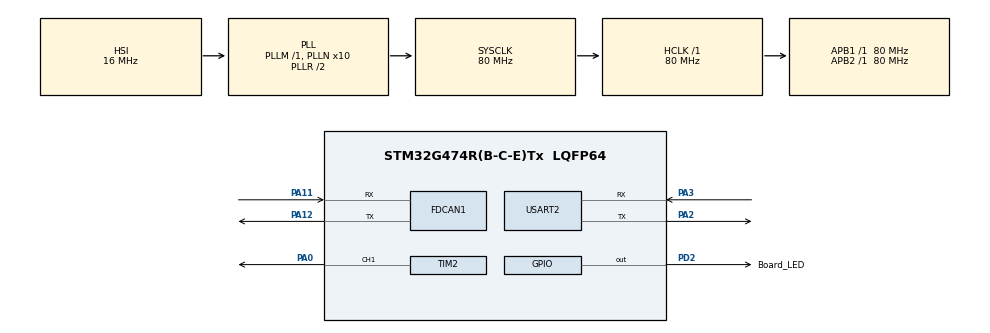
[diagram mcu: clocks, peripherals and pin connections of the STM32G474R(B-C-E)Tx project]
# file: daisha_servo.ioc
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FDCAN1.CalculateBaudRateNominal=1000000
FDCAN1.CalculateTimeBitNominal=1000
FDCAN1.CalculateTimeQuantumNominal=50.0
FDCAN1.DataPrescaler=2
FDCAN1.DataTimeSeg1=15
FDCAN1.DataTimeSeg2=4
FDCAN1.FrameFormat=FDCAN_FRAME_FD_BRS
FDCAN1.NominalPrescaler=4
FDCAN1.NominalTimeSeg1=15
FDCAN1.NominalTimeSeg2=4
FDCAN1.StdFiltersNbr=1
Mcu.Family=STM32G4
Mcu.Name=STM32G474R(B-C-E)Tx
Mcu.Package=LQFP64
NVIC.FDCAN1_IT0_IRQn=true\:0\:0\:false\:false\:true\:true\:true\:true
NVIC.FDCAN1_IT1_IRQn=true\:0\:0\:false\:false\:true\:true\:true\:true
NVIC.PriorityGroup=NVIC_PRIORITYGROUP_4
NVIC.USART2_IRQn=true\:0\:0\:false\:false\:true\:true\:true\:true
PA0.Signal=S_TIM2_CH1
PA11.Mode=FDCAN_Activate
PA11.Signal=FDCAN1_RX
PA12.Mode=FDCAN_Activate
PA12.Signal=FDCAN1_TX
PA2.Mode=Asynchronous
PA2.Signal=USART2_TX
PA3.Mode=Asynchronous
PA3.Signal=USART2_RX
PD2.GPIO_Label=Board_LED
PD2.Signal=GPIO_Output
ProjectManager.HeapSize=0x200
ProjectManager.StackSize=0x400
ProjectManager.TargetToolchain=STM32CubeIDE
RCC.ADC12Freq_Value=80000000
RCC.ADC345Freq_Value=80000000
RCC.AHBFreq_Value=80000000
RCC.APB1Freq_Value=80000000
RCC.APB1TimFreq_Value=80000000
RCC.APB2Freq_Value=80000000
RCC.APB2TimFreq_Value=80000000
RCC.CortexFreq_Value=80000000
RCC.EXTERNAL_CLOCK_VALUE=12288000
RCC.HCLKFreq_Value=80000000
RCC.HSE_VALUE=8000000
RCC.HSI48_VALUE=48000000
RCC.HSI_VALUE=16000000
RCC.LSE_VALUE=32768
RCC.PLLN=10
RCC.SYSCLKFreq_VALUE=80000000
RCC.SYSCLKSource=RCC_SYSCLKSOURCE_PLLCLK
RCC.USBFreq_Value=80000000
RCC.VCOOutputFreq_Value=160000000
SH.S_TIM2_CH1.0=TIM2_CH1,PWM Generation1 CH1
TIM2.Channel-PWM\ Generation1\ CH1=TIM_CHANNEL_1
TIM2.PeriodNoDither=999
TIM2.Prescaler=1599
USART2.VirtualMode-Asynchronous=VM_ASYNC
VP_SYS_VS_DBSignals.Mode=DisableDeadBatterySignals
board=custom

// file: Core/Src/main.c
/* USER CODE BEGIN Header */
/**
  ******************************************************************************
  * @file           : main.c
  * @brief          : Main program body
  ******************************************************************************
  * @attention
  *
  * Copyright (c) 2024 STMicroelectronics.
  * All rights reserved.
  *
  * This software is licensed under terms that can be found in the LICENSE file
  * in the root directory of this software component.
  * If no LICENSE file comes with this software, it is provided AS-IS.
  *
  ******************************************************************************
  */
/* USER CODE END Header */
#include "main.h"

/* USER CODE BEGIN Includes */
#include <stdio.h>
/* USER CODE END Includes */

FDCAN_HandleTypeDef hfdcan1;

TIM_HandleTypeDef htim2;

UART_HandleTypeDef huart2;

/* USER CODE BEGIN PV */
FDCAN_TxHeaderTypeDef TxHeader;
FDCAN_RxHeaderTypeDef RxHeader;
FDCAN_FilterTypeDef sFilterConfig;

uint8_t TxData[8] = {};
uint8_t RxData[8] = {};

int16_t dutty_re = 0;
int16_t kai = 0;
/* USER CODE END PV */

void SystemClock_Config(void);
static void MX_GPIO_Init(void);
static void MX_FDCAN1_Init(void);
static void MX_USART2_UART_Init(void);
static void MX_TIM2_Init(void);

/* USER CODE BEGIN 0 */
void HAL_FDCAN_RxFifo1Callback(FDCAN_HandleTypeDef *hfdcan, uint32_t RxFifo1ITs){
	if (RESET != (RxFifo1ITs & FDCAN_IT_RX_FIFO1_NEW_MESSAGE)) {

	        /* Retrieve Rx messages from RX FIFO0 */

		if (HAL_OK != HAL_FDCAN_GetRxMessage(&hfdcan1, FDCAN_RX_FIFO1, &RxHeader, RxData)) {
			printf("fdcan_getrxmessage is error\r\n");
			Error_Handler();
		}

		if (0x210 == RxHeader.Identifier) {
			kai = RxData[0];
		}
	}
}

void FDCAN_RxTxSettings(void){
	FDCAN_FilterTypeDef FDCAN_Filter_settings;
	FDCAN_Filter_settings.IdType = FDCAN_STANDARD_ID;
	FDCAN_Filter_settings.FilterIndex = 0;
	FDCAN_Filter_settings.FilterType = FDCAN_FILTER_RANGE;
	FDCAN_Filter_settings.FilterConfig = FDCAN_FILTER_TO_RXFIFO1;
	FDCAN_Filter_settings.FilterID1 = 0;
	FDCAN_Filter_settings.FilterID2 = 0x7FF;

	TxHeader.Identifier = 0x000;
	TxHeader.IdType = FDCAN_STANDARD_ID;
	TxHeader.TxFrameType = FDCAN_DATA_FRAME;
	TxHeader.DataLength = FDCAN_DLC_BYTES_8;
	TxHeader.ErrorStateIndicator = FDCAN_ESI_ACTIVE;
	TxHeader.BitRateSwitch = FDCAN_BRS_ON;
	TxHeader.FDFormat = FDCAN_FD_CAN;
	TxHeader.TxEventFifoControl = FDCAN_NO_TX_EVENTS;
	TxHeader.MessageMarker = 0;

	if (HAL_OK != HAL_FDCAN_ConfigFilter(&hfdcan1, &FDCAN_Filter_settings)){
		printf("fdcan_configfilter is error\r\n");
		Error_Handler();
	}

	if (HAL_OK != HAL_FDCAN_ConfigGlobalFilter(&hfdcan1, FDCAN_REJECT, FDCAN_FILTER_REJECT, FDCAN_FILTER_REMOTE, FDCAN_FILTER_REMOTE)){
		printf("fdcan_configglobalfilter is error\r\n");
		Error_Handler();
	}

	if (HAL_OK != HAL_FDCAN_Start(&hfdcan1)) {
		printf("fdcan_start is error\r\n");
		Error_Handler();
	}

	if (HAL_OK != HAL_FDCAN_ActivateNotification(&hfdcan1, FDCAN_IT_RX_FIFO1_NEW_MESSAGE, 0)){
		printf("fdcan_activatenotification is error\r\n");
		Error_Handler();
	}
}

int _write(int file, char *ptr, int len)
{
    HAL_UART_Transmit(&huart2,(uint8_t *)ptr,len,10);
    return len;
}
/* USER CODE END 0 */

int main(void)
{

  /* USER CODE BEGIN 1 */
	setbuf(stdout, NULL);
  /* USER CODE END 1 */

  /* MCU Configuration--------------------------------------------------------*/

  /* Reset of all peripherals, Initializes the Flash interface and the Systick. */
  HAL_Init();

  /* Configure the system clock */
  SystemClock_Config();

  /* Initialize all configured peripherals */
  MX_GPIO_Init();
  MX_FDCAN1_Init();
  MX_USART2_UART_Init();
  MX_TIM2_Init();
  /* USER CODE BEGIN 2 */
  printf("start\r\n");
  printf("can start\r\n");
  FDCAN_RxTxSettings();
  HAL_TIM_PWM_Start_IT(&htim2,TIM_CHANNEL_1);
  /* USER CODE END 2 */

  /* Infinite loop */
  /* USER CODE BEGIN WHILE */
  while (1)
  {
	  if (1 == kai){
		  dutty_re = 95;
	  }
	  else if (0 == kai) {
		  dutty_re = 0;
	  }
	  __HAL_TIM_SET_COMPARE(&htim2,TIM_CHANNEL_1,dutty_re);
	  HAL_Delay(10);
    /* USER CODE END WHILE */

  }
}

void SystemClock_Config(void)
{
  RCC_OscInitTypeDef RCC_OscInitStruct = {0};
  RCC_ClkInitTypeDef RCC_ClkInitStruct = {0};

  /** Configure the main internal regulator output voltage
  */
  HAL_PWREx_ControlVoltageScaling(PWR_REGULATOR_VOLTAGE_SCALE1);

  /** Initializes the RCC Oscillators according to the specified parameters
  * in the RCC_OscInitTypeDef structure.
  */
  RCC_OscInitStruct.OscillatorType = RCC_OSCILLATORTYPE_HSI;
  RCC_OscInitStruct.HSIState = RCC_HSI_ON;
  RCC_OscInitStruct.HSICalibrationValue = RCC_HSICALIBRATION_DEFAULT;
  RCC_OscInitStruct.PLL.PLLState = RCC_PLL_ON;
  RCC_OscInitStruct.PLL.PLLSource = RCC_PLLSOURCE_HSI;
  RCC_OscInitStruct.PLL.PLLM = RCC_PLLM_DIV1;
  RCC_OscInitStruct.PLL.PLLN = 10;
  RCC_OscInitStruct.PLL.PLLP = RCC_PLLP_DIV2;
  RCC_OscInitStruct.PLL.PLLQ = RCC_PLLQ_DIV2;
  RCC_OscInitStruct.PLL.PLLR = RCC_PLLR_DIV2;
  if (HAL_RCC_OscConfig(&RCC_OscInitStruct) != HAL_OK)
  {
    Error_Handler();
  }

  /** Initializes the CPU, AHB and APB buses clocks
  */
  RCC_ClkInitStruct.ClockType = RCC_CLOCKTYPE_HCLK|RCC_CLOCKTYPE_SYSCLK
                              |RCC_CLOCKTYPE_PCLK1|RCC_CLOCKTYPE_PCLK2;
  RCC_ClkInitStruct.SYSCLKSource = RCC_SYSCLKSOURCE_PLLCLK;
  RCC_ClkInitStruct.AHBCLKDivider = RCC_SYSCLK_DIV1;
  RCC_ClkInitStruct.APB1CLKDivider = RCC_HCLK_DIV1;
  RCC_ClkInitStruct.APB2CLKDivider = RCC_HCLK_DIV1;

  if (HAL_RCC_ClockConfig(&RCC_ClkInitStruct, FLASH_LATENCY_2) != HAL_OK)
  {
    Error_Handler();
  }
}

static void MX_FDCAN1_Init(void)
{

  hfdcan1.Instance = FDCAN1;
  hfdcan1.Init.ClockDivider = FDCAN_CLOCK_DIV1;
  hfdcan1.Init.FrameFormat = FDCAN_FRAME_FD_BRS;
  hfdcan1.Init.Mode = FDCAN_MODE_NORMAL;
  hfdcan1.Init.AutoRetransmission = DISABLE;
  hfdcan1.Init.TransmitPause = DISABLE;
  hfdcan1.Init.ProtocolException = DISABLE;
  hfdcan1.Init.NominalPrescaler = 4;
  hfdcan1.Init.NominalSyncJumpWidth = 1;
  hfdcan1.Init.NominalTimeSeg1 = 15;
  hfdcan1.Init.NominalTimeSeg2 = 4;
  hfdcan1.Init.DataPrescaler = 2;
  hfdcan1.Init.DataSyncJumpWidth = 1;
  hfdcan1.Init.DataTimeSeg1 = 15;
  hfdcan1.Init.DataTimeSeg2 = 4;
  hfdcan1.Init.StdFiltersNbr = 1;
  hfdcan1.Init.ExtFiltersNbr = 0;
  hfdcan1.Init.TxFifoQueueMode = FDCAN_TX_FIFO_OPERATION;
  if (HAL_FDCAN_Init(&hfdcan1) != HAL_OK)
  {
    Error_Handler();
  }

}

static void MX_TIM2_Init(void)
{

  TIM_MasterConfigTypeDef sMasterConfig = {0};
  TIM_OC_InitTypeDef sConfigOC = {0};

  htim2.Instance = TIM2;
  htim2.Init.Prescaler = 1599;
  htim2.Init.CounterMode = TIM_COUNTERMODE_UP;
  htim2.Init.Period = 999;
  htim2.Init.ClockDivision = TIM_CLOCKDIVISION_DIV1;
  htim2.Init.AutoReloadPreload = TIM_AUTORELOAD_PRELOAD_DISABLE;
  if (HAL_TIM_PWM_Init(&htim2) != HAL_OK)
  {
    Error_Handler();
  }
  sMasterConfig.MasterOutputTrigger = TIM_TRGO_RESET;
  sMasterConfig.MasterSlaveMode = TIM_MASTERSLAVEMODE_DISABLE;
  if (HAL_TIMEx_MasterConfigSynchronization(&htim2, &sMasterConfig) != HAL_OK)
  {
    Error_Handler();
  }
  sConfigOC.OCMode = TIM_OCMODE_PWM1;
  sConfigOC.Pulse = 0;
  sConfigOC.OCPolarity = TIM_OCPOLARITY_HIGH;
  sConfigOC.OCFastMode = TIM_OCFAST_DISABLE;
  if (HAL_TIM_PWM_ConfigChannel(&htim2, &sConfigOC, TIM_CHANNEL_1) != HAL_OK)
  {
    Error_Handler();
  }
  HAL_TIM_MspPostInit(&htim2);

}

static void MX_USART2_UART_Init(void)
{

  huart2.Instance = USART2;
  huart2.Init.BaudRate = 115200;
  huart2.Init.WordLength = UART_WORDLENGTH_8B;
  huart2.Init.StopBits = UART_STOPBITS_1;
  huart2.Init.Parity = UART_PARITY_NONE;
  huart2.Init.Mode = UART_MODE_TX_RX;
  huart2.Init.HwFlowCtl = UART_HWCONTROL_NONE;
  huart2.Init.OverSampling = UART_OVERSAMPLING_16;
  huart2.Init.OneBitSampling = UART_ONE_BIT_SAMPLE_DISABLE;
  huart2.Init.ClockPrescaler = UART_PRESCALER_DIV1;
  huart2.AdvancedInit.AdvFeatureInit = UART_ADVFEATURE_NO_INIT;
  if (HAL_UART_Init(&huart2) != HAL_OK)
  {
    Error_Handler();
  }
  if (HAL_UARTEx_SetTxFifoThreshold(&huart2, UART_TXFIFO_THRESHOLD_1_8) != HAL_OK)
  {
    Error_Handler();
  }
  if (HAL_UARTEx_SetRxFifoThreshold(&huart2, UART_RXFIFO_THRESHOLD_1_8) != HAL_OK)
  {
    Error_Handler();
  }
  if (HAL_UARTEx_DisableFifoMode(&huart2) != HAL_OK)
  {
    Error_Handler();
  }

}

static void MX_GPIO_Init(void)
{
  GPIO_InitTypeDef GPIO_InitStruct = {0};

  /* GPIO Ports Clock Enable */
  __HAL_RCC_GPIOA_CLK_ENABLE();
  __HAL_RCC_GPIOD_CLK_ENABLE();

  /*Configure GPIO pin Output Level */
  HAL_GPIO_WritePin(Board_LED_GPIO_Port, Board_LED_Pin, GPIO_PIN_RESET);

  /*Configure GPIO pin : Board_LED_Pin */
  GPIO_InitStruct.Pin = Board_LED_Pin;
  GPIO_InitStruct.Mode = GPIO_MODE_OUTPUT_PP;
  GPIO_InitStruct.Pull = GPIO_NOPULL;
  GPIO_InitStruct.Speed = GPIO_SPEED_FREQ_LOW;
  HAL_GPIO_Init(Board_LED_GPIO_Port, &GPIO_InitStruct);

}

void Error_Handler(void)
{
  __disable_irq();
  while (1)
  {
  }
}
